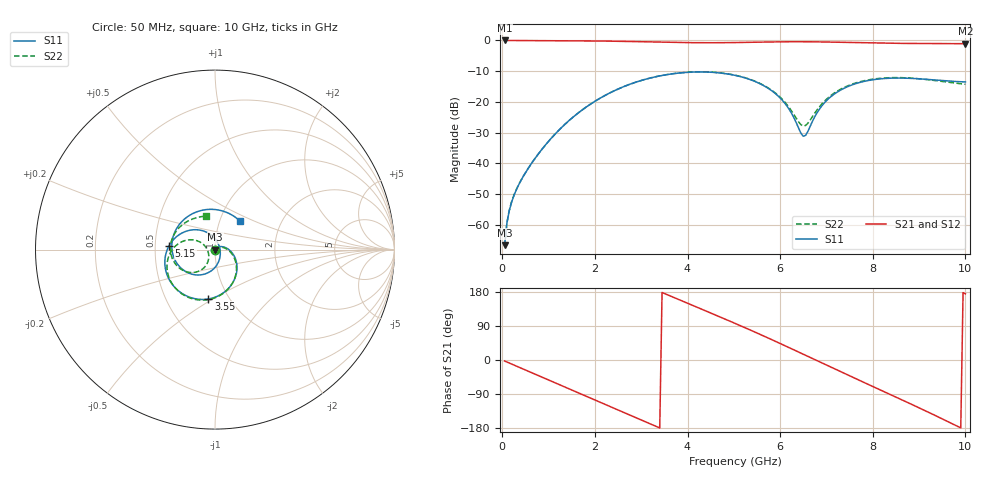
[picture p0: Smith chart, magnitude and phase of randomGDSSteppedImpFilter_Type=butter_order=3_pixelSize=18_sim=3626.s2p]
! freq	dB(S11)	phase(S11)	dB(S12)	phase(S12)
!  dB(S21)	phase(S21)	dB(S22)	phase(S22)
!S-par simulation data
#  GHz  S  DB  R 50
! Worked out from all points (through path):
!   200 points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, 50 MHz to 10 GHz, reference 50 ohm
!   highest |S21| = -0.01 dB at 50 MHz (marker M1); lowest = -1.1 dB at 10 GHz (marker M2)
!   group delay of S21, straight-line fit = 151 ps
!   lowest |S11| = -66.6 dB at 50 MHz (marker M3), VSWR 1.00, Z = 50 + j0.0271 ohm
!   |S11| at or under -10 dB: start of sweep to end of sweep
!   |S22| runs from -66.9 to -10.2 dB; largest |S21 - S12| = 0
!   S11 on the Smith chart (normalised r, x): 50 MHz: 1.00, +0.00; 3.55 GHz: 0.80, -0.48; 5.15 GHz: 0.59, +0.03; 10 GHz: 1.24, +0.42
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0.05  -66.64 35.5  -0.01 -2.7  -0.01 -2.7  -66.92 39.3
0.1  -59.40 55.3  -0.01 -5.3  -0.01 -5.3  -59.35 54.5
0.15  -55.43 63.1  -0.02 -7.9  -0.02 -7.9  -55.30 60.8
0.45  -44.29 65.8  -0.03 -23.7  -0.03 -23.7  -44.25 60.1
1.15  -30.30 33.3  -0.08 -60.4  -0.08 -60.4  -30.31 27.0
1.75  -22.33 0.5  -0.13 -92.1  -0.13 -92.1  -22.33 -3.7
2.65  -14.86 -49.1  -0.32 -139.9  -0.32 -139.9  -14.84 -50.2
3.4  -11.54 -89.7  -0.55 -179.3  -0.55 -179.3  -11.52 -88.2
3.55  -11.13 -97.8  -0.60 173.0  -0.60 173.0  -11.12 -95.7
4.35  -10.26 -140.4  -0.75 131.8  -0.75 131.8  -10.23 -134.6
5.05  -11.43 -178.9  -0.69 95.4  -0.69 95.4  -11.38 -167.7
5.15  -11.80 175.4  -0.66 90.1  -0.66 90.1  -11.74 -172.4
5.95  -17.99 123.4  -0.46 46.4  -0.46 46.4  -17.78 155.5
6.5  -31.17 19.2  -0.43 15.1  -0.43 15.1  -27.85 -165.2
6.7  -26.22 -55.2  -0.45 3.7  -0.45 3.7  -24.72 -127.0
6.95  -20.40 -88.1  -0.50 -10.7  -0.50 -10.7  -19.86 -119.7
7.3  -16.19 -116.3  -0.61 -30.6  -0.61 -30.6  -15.90 -129.3
7.85  -13.20 -154.0  -0.79 -61.5  -0.79 -61.5  -12.99 -153.0
8.35  -12.30 172.3  -0.92 -89.4  -0.92 -89.4  -12.13 -176.3
8.8  -12.32 140.7  -0.98 -114.8  -0.98 -114.8  -12.23 162.6
9.3  -12.82 103.2  -1.01 -143.6  -1.01 -143.6  -12.96 139.2
10  -13.51 49.4  -1.07 174.7  -1.07 174.7  -14.26 105.1
